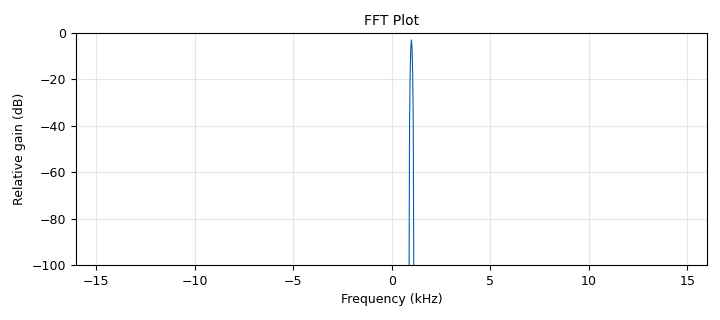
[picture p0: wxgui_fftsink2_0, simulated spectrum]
<?xml version='1.0' encoding='utf-8'?>
<?grc format='1' created='3.7.5'?>
<flow_graph>
<block>
<key>options</key>
<param><key>id</key><value>top_block</value></param>
<param><key>generate_options</key><value>wx_gui</value></param>
<param><key>category</key><value>Custom</value></param>
</block>
<block>
<key>variable</key>
<param><key>id</key><value>samp_rate</value></param>
<param><key>value</key><value>32000</value></param>
</block>
<block>
<key>analog_sig_source_x</key>
<param><key>id</key><value>analog_sig_source_x_0</value></param>
<param><key>type</key><value>complex</value></param>
<param><key>samp_rate</key><value>samp_rate</value></param>
<param><key>waveform</key><value>analog.GR_SIN_WAVE</value></param>
<param><key>freq</key><value>frequency</value></param>
<param><key>amp</key><value>1</value></param>
<param><key>offset</key><value>0</value></param>
</block>
<block>
<key>wxgui_fftsink2</key>
<param><key>id</key><value>wxgui_fftsink2_0</value></param>
<param><key>type</key><value>complex</value></param>
<param><key>title</key><value>FFT Plot</value></param>
<param><key>samp_rate</key><value>samp_rate</value></param>
<param><key>baseband_freq</key><value>0</value></param>
<param><key>y_per_div</key><value>10</value></param>
<param><key>y_divs</key><value>10</value></param>
<param><key>ref_level</key><value>0</value></param>
<param><key>ref_scale</key><value>2.0</value></param>
<param><key>fft_size</key><value>1024</value></param>
<param><key>fft_rate</key><value>15</value></param>
<param><key>peak_hold</key><value>False</value></param>
<param><key>average</key><value>False</value></param>
<param><key>avg_alpha</key><value>0</value></param>
<param><key>win</key><value>None</value></param>
<param><key>freqvar</key><value>None</value></param>
</block>
<block>
<key>blocks_complex_to_float</key>
<param><key>id</key><value>blocks_complex_to_float_0</value></param>
</block>
<block>
<key>blocks_stream_mux</key>
<param><key>id</key><value>blocks_stream_mux_0</value></param>
<param><key>type</key><value>float</value></param>
<param><key>lengths</key><value>1, 1</value></param>
</block>
<block>
<key>blocks_throttle</key>
<param><key>id</key><value>blocks_throttle_0</value></param>
<param><key>type</key><value>complex</value></param>
<param><key>samples_per_second</key><value>samp_rate</value></param>
</block>
<block>
<key>variable_slider</key>
<param><key>id</key><value>frequency</value></param>
<param><key>label</key><value></value></param>
<param><key>value</key><value>1e3</value></param>
<param><key>min</key><value>-samp_rate/2</value></param>
<param><key>max</key><value>samp_rate/2</value></param>
<param><key>num_steps</key><value>100</value></param>
<param><key>style</key><value>wx.SL_HORIZONTAL</value></param>
<param><key>converver</key><value>float_converter</value></param>
</block>
<block>
<key>ha5kfu_execproc_sink_f</key>
<param><key>id</key><value>ha5kfu_execproc_sink_f_0</value></param>
<param><key>commandline</key><value>csdr fft_cc 512 5120 HAMMING --octave | octave -i</value></param>
</block>
<connection><source_block_id>analog_sig_source_x_0</source_block_id><sink_block_id>blocks_throttle_0</sink_block_id><source_key>0</source_key><sink_key>0</sink_key></connection>
<connection><source_block_id>blocks_throttle_0</source_block_id><sink_block_id>wxgui_fftsink2_0</sink_block_id><source_key>0</source_key><sink_key>0</sink_key></connection>
<connection><source_block_id>blocks_throttle_0</source_block_id><sink_block_id>blocks_complex_to_float_0</sink_block_id><source_key>0</source_key><sink_key>0</sink_key></connection>
<connection><source_block_id>blocks_complex_to_float_0</source_block_id><sink_block_id>blocks_stream_mux_0</sink_block_id><source_key>0</source_key><sink_key>0</sink_key></connection>
<connection><source_block_id>blocks_complex_to_float_0</source_block_id><sink_block_id>blocks_stream_mux_0</sink_block_id><source_key>1</source_key><sink_key>1</sink_key></connection>
<connection><source_block_id>blocks_stream_mux_0</source_block_id><sink_block_id>ha5kfu_execproc_sink_f_0</sink_block_id><source_key>0</source_key><sink_key>0</sink_key></connection>
</flow_graph>
